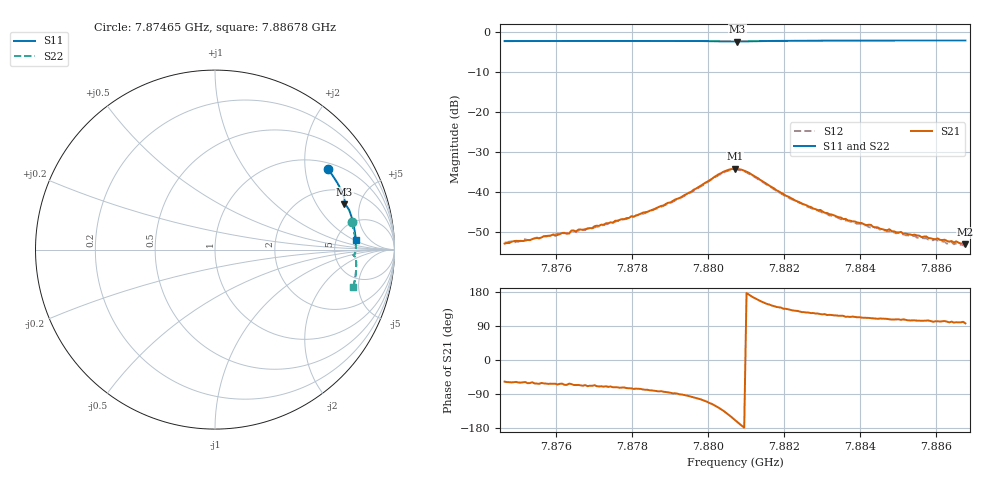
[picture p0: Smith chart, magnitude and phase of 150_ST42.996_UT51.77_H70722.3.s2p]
#  HZ  S  DB  R  50.00
! Rohde & Schwarz Vector Network Analyzer
! Rohde-Schwarz,ZNB20-2Port,1311601062101988,3.16
! Created: UTC 1/12/2023, 6:40:27 PM
! freq[Hz]  db:S11  ang:S11  db:S21  ang:S21  db:S12  ang:S12  db:S22  ang:S22
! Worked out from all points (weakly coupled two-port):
!   201 points, 7.87465 GHz to 7.88678 GHz, reference 50 ohm
!   highest |S21| = -34.20 dB at 7.88072 GHz (marker M1); lowest = -53.2 dB at 7.88678 GHz (marker M2)
!   lowest |S11| = -2.4 dB at 7.88078 GHz (marker M3), VSWR 7.44, Z = 147 + j178 ohm
!   |S11| at or under -10 dB: nowhere
!   |S22| runs from -2.3 to -2.0 dB; largest |S21 - S12| = 0.0013
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7.874653e9  -2.25 35.4  -52.94 -57.2  -52.70 -61.3  -2.20 11.4
7.875562e9  -2.23 32.9  -51.61 -62.8  -51.68 -64.1  -2.17 9.2
7.876048e9  -2.22 31.6  -50.78 -64.6  -50.35 -68.0  -2.15 8.0
7.876351e9  -2.21 30.7  -50.37 -62.3  -50.43 -69.5  -2.15 7.3
7.876411e9  -2.21 30.6  -49.68 -63.5  -50.16 -68.7  -2.14 7.2
7.876715e9  -2.21 29.7  -49.51 -67.9  -49.41 -70.5  -2.14 6.5
7.878049e9  -2.19 26.1  -46.23 -76.3  -46.15 -79.1  -2.10 3.3
7.878716e9  -2.20 24.2  -43.75 -82.9  -43.95 -85.3  -2.11 1.8
7.879565e9  -2.21 21.8  -39.96 -97.0  -40.08 -100.4  -2.12 -0.3
7.880415e9  -2.32 19.6  -34.95 -134.1  -35.15 -138.0  -2.22 -2.2
7.880718e9  -2.35 19.3  -34.20 -158.5  -34.40 -162.0  -2.26 -2.3
7.880779e9  -2.35 19.3  -34.25 -163.8  -34.44 -167.0  -2.26 -2.3
7.881142e9  -2.29 18.8  -35.57 168.6  -35.69 165.5  -2.20 -2.6
7.882052e9  -2.17 16.4  -40.93 135.1  -41.11 131.4  -2.07 -4.6
7.88278e9  -2.14 14.4  -44.17 123.9  -44.35 120.2  -2.02 -6.3
7.88369e9  -2.13 11.9  -47.17 114.3  -47.16 112.5  -2.00 -8.4
7.884782e9  -2.11 9.0  -49.37 107.5  -49.82 103.9  -1.97 -10.9
7.884964e9  -2.11 8.6  -50.11 106.9  -50.38 105.3  -1.98 -11.2
7.885995e9  -2.09 5.9  -51.86 102.2  -51.85 98.9  -1.97 -13.5
7.886298e9  -2.09 5.1  -52.28 101.2  -52.95 95.4  -1.96 -14.2
7.886419e9  -2.09 4.8  -52.29 101.3  -52.52 98.2  -1.96 -14.4
7.886783e9  -2.08 3.8  -53.16 96.6  -53.59 96.3  -1.96 -15.2
